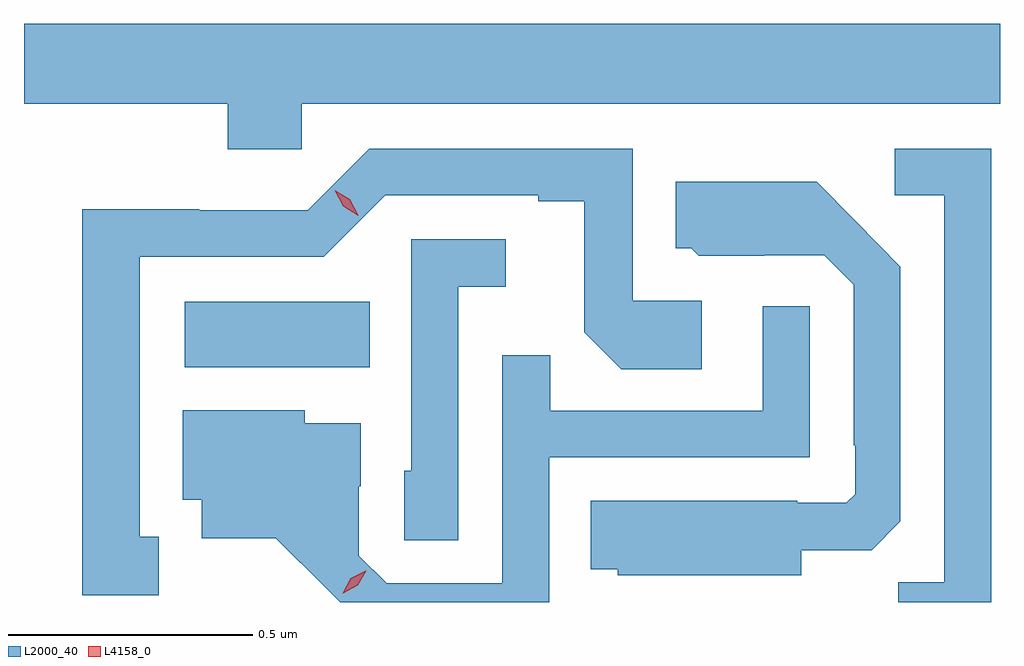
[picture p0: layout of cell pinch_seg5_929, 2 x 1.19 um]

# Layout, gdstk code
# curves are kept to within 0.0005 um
import gdstk
lib = gdstk.Library(unit=1e-6, precision=1e-09)
def R(c, l, rs):  # rectangles x0, y0, x1, y1
    for r in rs: c.add(gdstk.rectangle(r[:2], r[2:], *l))
def P(c, l, *ps):  # polygons
    for p in ps: c.add(gdstk.Polygon(p, *l))
L2000_40 = (2000, 40)
L4158_0 = (4158, 0)

pinch_seg5_929 = lib.new_cell('pinch_seg5_929')
R(pinch_seg5_929, L2000_40, [(755.646,890.852,756.026,890.986)])
P(pinch_seg5_929, L2000_40, [(755.886,891.392),(757.317,891.392),(757.317,891.556),(755.317,891.556),(755.317,891.392),(755.735,891.392),(755.735,891.299),(755.886,891.299)],
  [(757.299,891.3),(757.101,891.3),(757.101,891.204),(757.203,891.204),(757.203,890.411),(757.108,890.411),(757.108,890.37),(757.299,890.37)],
  [(755.593,890.505),(755.554,890.505),(755.554,891.078),(755.931,891.078),(756.057,891.204),(756.371,891.204),(756.371,891.192),(756.465,891.192),(756.465,890.924),(756.541,890.848),(756.706,890.848),(756.706,890.988),(756.564,890.988),(756.564,891.3),(756.024,891.3),(755.898,891.174),(755.676,891.174),(755.676,891.176),(755.436,891.176),(755.436,890.385),(755.593,890.385)],
  [(756.91,890.477),(757.054,890.477),(757.113,890.536),(757.113,891.058),(756.941,891.232),(756.653,891.232),(756.653,891.096),(756.684,891.096),(756.7,891.08),(756.834,891.08),(756.834,891.081),(756.957,891.081),(757.017,891.021),(757.017,890.692),(757.02,890.692),(757.02,890.592),(757.002,890.574),(756.902,890.574),(756.902,890.578),(756.478,890.578),(756.478,890.438),(756.534,890.438),(756.534,890.426),(756.91,890.426)],
  [(756.207,891.017),(756.304,891.017),(756.304,891.114),(756.111,891.114),(756.111,890.64),(756.096,890.64),(756.096,890.497),(756.207,890.497)],
  [(756.393,890.667),(756.927,890.667),(756.927,890.977),(756.831,890.977),(756.831,890.763),(756.395,890.763),(756.395,890.876),(756.297,890.876),(756.297,890.409),(756.06,890.409),(756.003,890.466),(756.003,890.608),(756.007,890.608),(756.007,890.737),(755.892,890.737),(755.892,890.764),(755.642,890.764),(755.642,890.58),(755.681,890.58),(755.681,890.501),(755.833,890.501),(755.965,890.37),(756.393,890.37)])
P(pinch_seg5_929, L4158_0, [(756.002,891.162),(755.971,891.182),(755.954,891.215),(755.954,891.215),(755.954,891.215),(755.985,891.196),(756.002,891.163),(756.002,891.162)],
  [(755.97,890.389),(755.97,890.389),(755.987,890.419),(756.017,890.435),(756.018,890.435),(756.018,890.435),(756.001,890.405),(755.971,890.389)])

lib.write_gds('pinch_seg5_929.gds')
